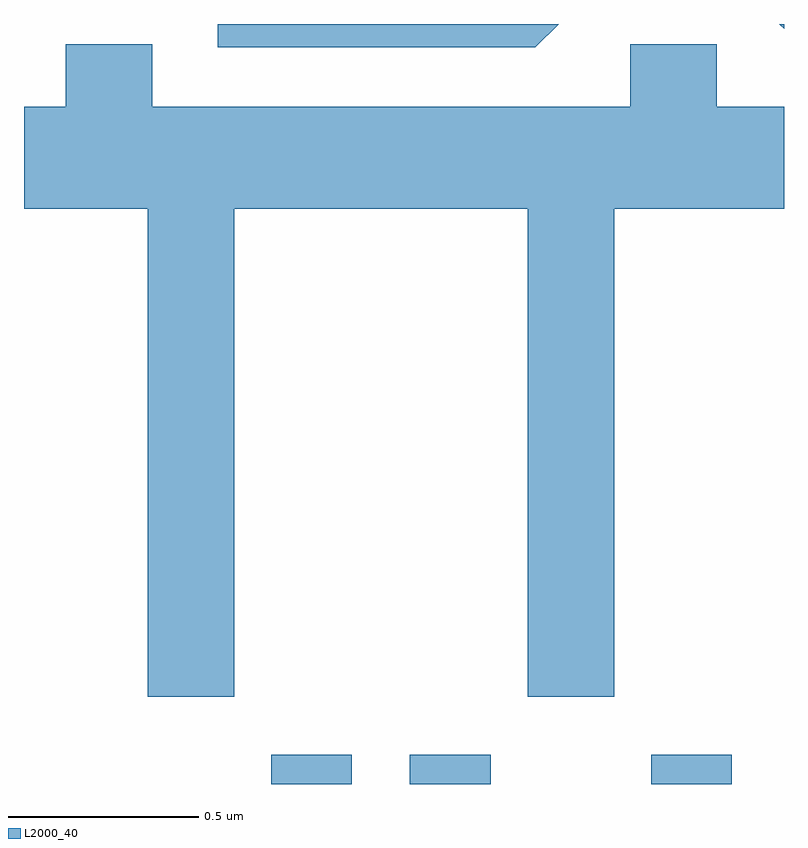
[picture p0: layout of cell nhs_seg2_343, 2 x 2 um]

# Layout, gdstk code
import gdstk
lib = gdstk.Library(unit=1e-6, precision=1e-09)
def R(c, l, rs):  # rectangles x0, y0, x1, y1
    for r in rs: c.add(gdstk.rectangle(r[:2], r[2:], *l))
def P(c, l, *ps):  # polygons
    for p in ps: c.add(gdstk.Polygon(p, *l))
L2000_40 = (2000, 40)

nhs_seg2_343 = lib.new_cell('nhs_seg2_343')
R(nhs_seg2_343, L2000_40, [(188.261,1046.802,188.474,1046.879), (188.626,1046.802,188.839,1046.879), (189.261,1046.802,189.474,1046.879)])
P(nhs_seg2_343, L2000_40, [(189.018,1048.802),(188.121,1048.802),(188.121,1048.741),(188.957,1048.741)],
  [(189.611,1048.802),(189.598,1048.802),(189.611,1048.789)],
  [(188.164,1048.316),(188.936,1048.316),(188.936,1047.031),(189.164,1047.031),(189.164,1048.316),(189.611,1048.316),(189.611,1048.584),(189.434,1048.584),(189.434,1048.749),(189.206,1048.749),(189.206,1048.584),(187.949,1048.584),(187.949,1048.749),(187.721,1048.749),(187.721,1048.584),(187.611,1048.584),(187.611,1048.316),(187.936,1048.316),(187.936,1047.031),(188.164,1047.031)])

lib.write_gds('nhs_seg2_343.gds')
